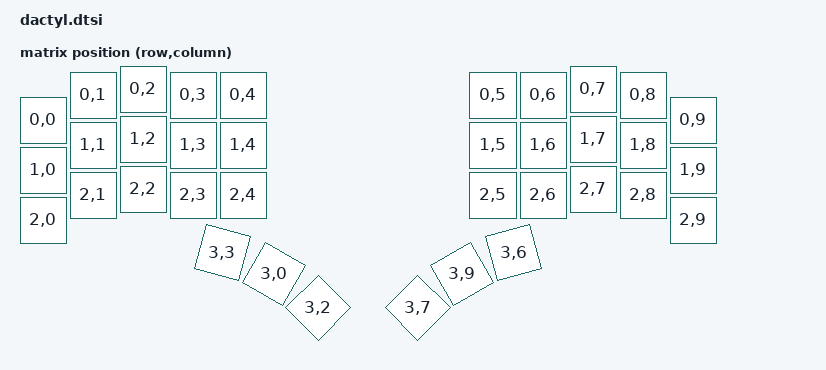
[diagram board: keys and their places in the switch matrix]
#include <dt-bindings/zmk/matrix_transform.h>
#include <physical_layouts.dtsi>

/ {
    chosen {
        zmk,kscan = &kscan0;
        zmk,physical-layout = &default_layout;
    };

    default_transform: keymap_transform_0 {
        compatible = "zmk,matrix-transform";
        columns = <10>;
        rows = <4>;
//             | SW01  | SW02  | SW03  | SW04  | SW05  |  | SW05  | SW04  | SW03  | SW02  | SW01  |
//             | SW06  | SW07  | SW08  | SW09  | SW10  |  | SW10  | SW09  | SW08  | SW07  | SW06  | 
//             | SW11  | SW12  | SW13  | SW14  | SW15  |  | SW15  | SW14  | SW13  | SW12  | SW11  |
//                             | SW17  | SW18  | SW16  |  | SW16  | SW18  | SW17  |
        map = <
                RC(0,0) RC(0,1) RC(0,2) RC(0,3) RC(0,4)    RC(0,5) RC(0,6) RC(0,7) RC(0,8) RC(0,9)
                RC(1,0) RC(1,1) RC(1,2) RC(1,3) RC(1,4)    RC(1,5) RC(1,6) RC(1,7) RC(1,8) RC(1,9)
                RC(2,0) RC(2,1) RC(2,2) RC(2,3) RC(2,4)    RC(2,5) RC(2,6) RC(2,7) RC(2,8) RC(2,9)
                                RC(3,2) RC(3,3) RC(3,0)    RC(3,9) RC(3,6) RC(3,7)
        >;
    };
 
    kscan0: kscan_0 {
        diode-direction = "col2row"; 
    };

    default_layout: default_layout {
        compatible = "zmk,physical-layout";
        display-name = "Dactyl-BT";

        transform = <&default_transform>;
        // https://zmk-physical-layout-converter.streamlit.app/
        keys  //                     w   h    x    y     rot    rx    ry
            = <&key_physical_attrs 100 100    0   62       0     0     0>
            , <&key_physical_attrs 100 100  100   12       0     0     0>
            , <&key_physical_attrs 100 100  200    0       0     0     0>
            , <&key_physical_attrs 100 100  300   12       0     0     0>
            , <&key_physical_attrs 100 100  400   12       0     0     0>
            , <&key_physical_attrs 100 100  900   12       0     0     0>
            , <&key_physical_attrs 100 100 1000   12       0     0     0>
            , <&key_physical_attrs 100 100 1100    0       0     0     0>
            , <&key_physical_attrs 100 100 1200   12       0     0     0>
            , <&key_physical_attrs 100 100 1300   62       0     0     0>
            , <&key_physical_attrs 100 100    0  162       0     0     0>
            , <&key_physical_attrs 100 100  100  112       0     0     0>
            , <&key_physical_attrs 100 100  200  100       0     0     0>
            , <&key_physical_attrs 100 100  300  112       0     0     0>
            , <&key_physical_attrs 100 100  400  112       0     0     0>
            , <&key_physical_attrs 100 100  900  112       0     0     0>
            , <&key_physical_attrs 100 100 1000  112       0     0     0>
            , <&key_physical_attrs 100 100 1100  100       0     0     0>
            , <&key_physical_attrs 100 100 1200  112       0     0     0>
            , <&key_physical_attrs 100 100 1300  162       0     0     0>
            , <&key_physical_attrs 100 100    0  262       0     0     0>
            , <&key_physical_attrs 100 100  100  212       0     0     0>
            , <&key_physical_attrs 100 100  200  200       0     0     0>
            , <&key_physical_attrs 100 100  300  212       0     0     0>
            , <&key_physical_attrs 100 100  400  212       0     0     0>
            , <&key_physical_attrs 100 100  900  212       0     0     0>
            , <&key_physical_attrs 100 100 1000  212       0     0     0>
            , <&key_physical_attrs 100 100 1100  200       0     0     0>
            , <&key_physical_attrs 100 100 1200  212       0     0     0>
            , <&key_physical_attrs 100 100 1300  262       0     0     0>
            , <&key_physical_attrs 100 100  248  312    4500   298   790>
            , <&key_physical_attrs 100 100  248  312    1500   298   790>
            , <&key_physical_attrs 100 100  248  312    3000   298   790>
            , <&key_physical_attrs 100 100 1052  312 (-3000)  1102   790>
            , <&key_physical_attrs 100 100 1052  312 (-1500)  1102   790>
            , <&key_physical_attrs 100 100 1052  312 (-4500)  1102   790>
            ;
    };
};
